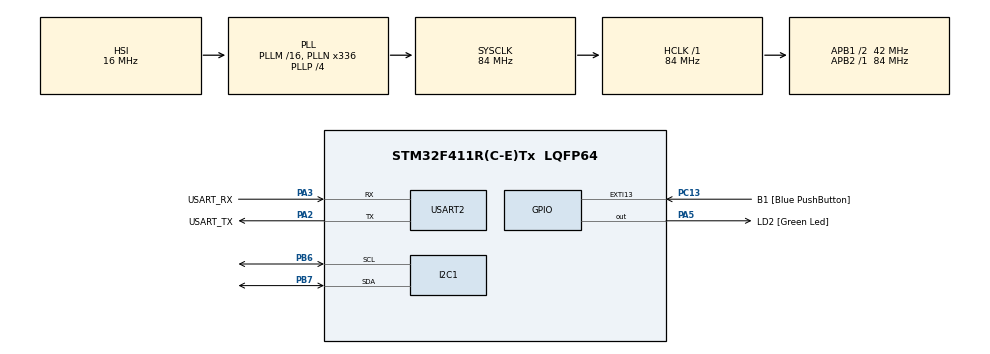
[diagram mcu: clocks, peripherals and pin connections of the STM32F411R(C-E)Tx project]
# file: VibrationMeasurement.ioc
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Mcu.Family=STM32F4
Mcu.Name=STM32F411R(C-E)Tx
Mcu.Package=LQFP64
NVIC.PriorityGroup=NVIC_PRIORITYGROUP_0
PA13.GPIO_Label=TMS
PA13.Mode=Serial_Wire
PA13.Signal=SYS_JTMS-SWDIO
PA14.GPIO_Label=TCK
PA14.Mode=Serial_Wire
PA14.Signal=SYS_JTCK-SWCLK
PA2.GPIO_Label=USART_TX
PA2.Mode=Asynchronous
PA2.Signal=USART2_TX
PA3.GPIO_Label=USART_RX
PA3.Mode=Asynchronous
PA3.Signal=USART2_RX
PA5.GPIO_Label=LD2 [Green Led]
PA5.Signal=GPIO_Output
PB3.GPIO_Label=SWO
PB3.Signal=SYS_JTDO-SWO
PB6.GPIO_Pu=GPIO_NOPULL
PB6.Mode=I2C
PB6.Signal=I2C1_SCL
PB7.GPIO_Pu=GPIO_NOPULL
PB7.Mode=I2C
PB7.Signal=I2C1_SDA
PC13-ANTI_TAMP.GPIO_Label=B1 [Blue PushButton]
PC13-ANTI_TAMP.GPIO_ModeDefaultEXTI=GPIO_MODE_IT_FALLING
PC13-ANTI_TAMP.Signal=GPXTI13
PC14-OSC32_IN.Mode=LSE-External-Oscillator
PC14-OSC32_IN.Signal=RCC_OSC32_IN
PC15-OSC32_OUT.Mode=LSE-External-Oscillator
PC15-OSC32_OUT.Signal=RCC_OSC32_OUT
PH0\ -\ OSC_IN.Mode=HSE-External-Clock-Source
PH0\ -\ OSC_IN.Signal=RCC_OSC_IN
PH1\ -\ OSC_OUT.Mode=HSE-External-Clock-Source
PH1\ -\ OSC_OUT.Signal=RCC_OSC_OUT
ProjectManager.HeapSize=0x200
ProjectManager.StackSize=0x400
ProjectManager.TargetToolchain=STM32CubeIDE
RCC.48MHZClocksFreq_Value=84000000
RCC.AHBFreq_Value=84000000
RCC.APB1CLKDivider=RCC_HCLK_DIV2
RCC.APB1Freq_Value=42000000
RCC.APB1TimFreq_Value=84000000
RCC.APB2Freq_Value=84000000
RCC.APB2TimFreq_Value=84000000
RCC.CortexFreq_Value=84000000
RCC.FLatency-AdvancedSettings=FLASH_LATENCY_2
RCC.HCLKFreq_Value=84000000
RCC.HSE_VALUE=8000000
RCC.HSI_VALUE=16000000
RCC.PLLN=336
RCC.PLLP=RCC_PLLP_DIV4
RCC.SYSCLKFreq_VALUE=84000000
RCC.SYSCLKSource=RCC_SYSCLKSOURCE_PLLCLK
RCC.VCOOutputFreq_Value=336000000
USART2.VirtualMode=VM_ASYNC
board=NUCLEO-F411RE

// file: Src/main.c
/* USER CODE BEGIN Header */
/**
  ******************************************************************************
  * @file           : main.c
  * @brief          : Main program body
  ******************************************************************************
  * @attention
  *
  * Copyright (c) 2025 STMicroelectronics.
  * All rights reserved.
  *
  * This software is licensed under terms that can be found in the LICENSE file
  * in the root directory of this software component.
  * If no LICENSE file comes with this software, it is provided AS-IS.
  *
  ******************************************************************************
  */
/* USER CODE END Header */
#include "main.h"

/* USER CODE BEGIN Includes */
#include <stdio.h>
/* USER CODE END Includes */

I2C_HandleTypeDef hi2c1;

UART_HandleTypeDef huart2;

void SystemClock_Config(void);
static void MX_GPIO_Init(void);
static void MX_USART2_UART_Init(void);
static void MX_I2C1_Init(void);

/* USER CODE BEGIN 0 */
#define MPU6050_ADDR 0xD0

#define SMPLRT_DIV_REG 0x19
#define GYRO_CONFIG_REG 0x1B
#define ACCEL_CONFIG_REG 0x1C
#define ACCEL_XOUT_H_REG 0x3B
#define TEMP_OUT_H_REG 0x41
#define GYRO_XOUT_H_REG 0x43
#define PWR_MGMT_1_REG 0x6B
#define WHO_AM_I_REG 0x75

int16_t Accel_X_RAW = 0;
int16_t Accel_Y_RAW = 0;
int16_t Accel_Z_RAW = 0;

int16_t Gyro_X_RAW = 0;
int16_t Gyro_Y_RAW = 0;
int16_t Gyro_Z_RAW = 0;

float Ax, Ay, Az, Gx, Gy, Gz;

void MPU6050_Init (void)
{
	uint8_t check;
	uint8_t Data;

	// check device ID WHO_AM_I
	HAL_I2C_Mem_Read (&hi2c1, MPU6050_ADDR, 0x75, 1, &check, 1, 1000);
	if (check == 0x68)  // 0x68 will be returned by the sensor if everything goes well
	{
		// power management register 0X6B we should write all 0's to wake the sensor up
		Data = 0;
		HAL_I2C_Mem_Write(&hi2c1, MPU6050_ADDR, 0x6B, 1,&Data, 1, 1000);

		// Set DATA RATE of 1KHz by writing SMPLRT_DIV register
		Data = 0x07;
		HAL_I2C_Mem_Write(&hi2c1, MPU6050_ADDR, 0x19, 1, &Data, 1, 1000);

		// Set Gyroscopic configuration in GYRO_CONFIG Register
		Data = 0x00;  // XG_ST=0,YG_ST=0,ZG_ST=0, FS_SEL=0 -> ± 250 ̐/s
		HAL_I2C_Mem_Write(&hi2c1, MPU6050_ADDR, 0x1B, 1, &Data, 1, 1000);

		// Set accelerometer configuration in ACCEL_CONFIG Register
		Data = 0x00;  // XA_ST=0,YA_ST=0,ZA_ST=0, FS_SEL=0 -> ± 2g
		HAL_I2C_Mem_Write(&hi2c1, MPU6050_ADDR, 0x1C, 1, &Data, 1, 1000);
	}

}

void MPU6050_Read_Accel (void)
{
	uint8_t Rec_Data[6];

	// Read 6 BYTES of data starting from ACCEL_XOUT_H (0x3B) register
	HAL_I2C_Mem_Read (&hi2c1, MPU6050_ADDR, 0x3B, 1, Rec_Data, 6, 1000);

	Accel_X_RAW = (int16_t)(Rec_Data[0] << 8 | Rec_Data [1]);
	Accel_Y_RAW = (int16_t)(Rec_Data[2] << 8 | Rec_Data [3]);
	Accel_Z_RAW = (int16_t)(Rec_Data[4] << 8 | Rec_Data [5]);

	/*** convert the RAW values into acceleration in 'g'
	     we have to divide according to the Full scale value set in FS_SEL
	     I have configured FS_SEL = 0. So I am dividing by 16384.0
	     for more details check ACCEL_CONFIG Register              ****/

	Ax = (float)Accel_X_RAW/16384.0;
	Ay = (float)Accel_Y_RAW/16384.0;
	Az = (float)Accel_Z_RAW/16384.0;
}

void MPU6050_Read_Gyro (void)
{
	uint8_t Rec_Data[6];

	// Read 6 BYTES of data starting from GYRO_XOUT_H register
	HAL_I2C_Mem_Read (&hi2c1, MPU6050_ADDR, 0x43, 1, Rec_Data, 6, 1000);

	Gyro_X_RAW = (int16_t)(Rec_Data[0] << 8 | Rec_Data [1]);
	Gyro_Y_RAW = (int16_t)(Rec_Data[2] << 8 | Rec_Data [3]);
	Gyro_Z_RAW = (int16_t)(Rec_Data[4] << 8 | Rec_Data [5]);

	/*** convert the RAW values into dps (ｰ/s)
	     we have to divide according to the Full scale value set in FS_SEL
	     I have configured FS_SEL = 0. So I am dividing by 131.0
	     for more details check GYRO_CONFIG Register              ****/

	Gx = (float)Gyro_X_RAW/131.0;
	Gy = (float)Gyro_Y_RAW/131.0;
	Gz = (float)Gyro_Z_RAW/131.0;
}

/* USER CODE END 0 */

int main(void)
{

  /* MCU Configuration--------------------------------------------------------*/

  /* Reset of all peripherals, Initializes the Flash interface and the Systick. */
  HAL_Init();

  /* Configure the system clock */
  SystemClock_Config();

  /* Initialize all configured peripherals */
  MX_GPIO_Init();
  MX_USART2_UART_Init();
  MX_I2C1_Init();
  /* USER CODE BEGIN 2 */
  MPU6050_Init();

  /* USER CODE END 2 */

  /* Infinite loop */
  while (1)
  {

    /* USER CODE BEGIN 3 */
	  uint8_t packet[16]; // Binary packet buffer
	    uint8_t checksum = 0;

	    // Read the Accelerometer and Gyro values
	    MPU6050_Read_Accel();
	    MPU6050_Read_Gyro();

	    // Convert float values to int16_t with proper scaling
	    int16_t accelX = (int16_t)(Ax * 16384.0f); // Scale back to raw values
	    int16_t accelY = (int16_t)(Ay * 16384.0f);
	    int16_t accelZ = (int16_t)(Az * 16384.0f);
	    int16_t gyroX = (int16_t)(Gx * 131.0f);
	    int16_t gyroY = (int16_t)(Gy * 131.0f);
	    int16_t gyroZ = (int16_t)(Gz * 131.0f);

	    // Build packet
	    packet[0] = 0xAA; // PACKET_HEADER_1
	    packet[1] = 0x55; // PACKET_HEADER_2

	    // Accelerometer data
	    packet[2] = (uint8_t)(accelX >> 8);
	    packet[3] = (uint8_t)(accelX & 0xFF);
	    packet[4] = (uint8_t)(accelY >> 8);
	    packet[5] = (uint8_t)(accelY & 0xFF);
	    packet[6] = (uint8_t)(accelZ >> 8);
	    packet[7] = (uint8_t)(accelZ & 0xFF);

	    // Gyroscope data
	    packet[8] = (uint8_t)(gyroX >> 8);
	    packet[9] = (uint8_t)(gyroX & 0xFF);
	    packet[10] = (uint8_t)(gyroY >> 8);
	    packet[11] = (uint8_t)(gyroY & 0xFF);
	    packet[12] = (uint8_t)(gyroZ >> 8);
	    packet[13] = (uint8_t)(gyroZ & 0xFF);

	    // Calculate checksum (XOR of all bytes)
	    for (int i = 0; i < 14; i++) {
	      checksum ^= packet[i];
	    }
	    packet[14] = checksum;

	    // Send the packet
	    HAL_UART_Transmit(&huart2, packet, 15, HAL_MAX_DELAY);

	    HAL_Delay(100);  // 10Hz update rate to match Qt app
  }
  /* USER CODE END 3 */
}

void SystemClock_Config(void)
{
  RCC_OscInitTypeDef RCC_OscInitStruct = {0};
  RCC_ClkInitTypeDef RCC_ClkInitStruct = {0};

  /** Configure the main internal regulator output voltage
  */
  __HAL_RCC_PWR_CLK_ENABLE();
  __HAL_PWR_VOLTAGESCALING_CONFIG(PWR_REGULATOR_VOLTAGE_SCALE1);

  /** Initializes the RCC Oscillators according to the specified parameters
  * in the RCC_OscInitTypeDef structure.
  */
  RCC_OscInitStruct.OscillatorType = RCC_OSCILLATORTYPE_HSI;
  RCC_OscInitStruct.HSIState = RCC_HSI_ON;
  RCC_OscInitStruct.HSICalibrationValue = RCC_HSICALIBRATION_DEFAULT;
  RCC_OscInitStruct.PLL.PLLState = RCC_PLL_ON;
  RCC_OscInitStruct.PLL.PLLSource = RCC_PLLSOURCE_HSI;
  RCC_OscInitStruct.PLL.PLLM = 16;
  RCC_OscInitStruct.PLL.PLLN = 336;
  RCC_OscInitStruct.PLL.PLLP = RCC_PLLP_DIV4;
  RCC_OscInitStruct.PLL.PLLQ = 4;
  if (HAL_RCC_OscConfig(&RCC_OscInitStruct) != HAL_OK)
  {
    Error_Handler();
  }

  /** Initializes the CPU, AHB and APB buses clocks
  */
  RCC_ClkInitStruct.ClockType = RCC_CLOCKTYPE_HCLK|RCC_CLOCKTYPE_SYSCLK
                              |RCC_CLOCKTYPE_PCLK1|RCC_CLOCKTYPE_PCLK2;
  RCC_ClkInitStruct.SYSCLKSource = RCC_SYSCLKSOURCE_PLLCLK;
  RCC_ClkInitStruct.AHBCLKDivider = RCC_SYSCLK_DIV1;
  RCC_ClkInitStruct.APB1CLKDivider = RCC_HCLK_DIV2;
  RCC_ClkInitStruct.APB2CLKDivider = RCC_HCLK_DIV1;

  if (HAL_RCC_ClockConfig(&RCC_ClkInitStruct, FLASH_LATENCY_2) != HAL_OK)
  {
    Error_Handler();
  }
}

static void MX_I2C1_Init(void)
{

  hi2c1.Instance = I2C1;
  hi2c1.Init.ClockSpeed = 100000;
  hi2c1.Init.DutyCycle = I2C_DUTYCYCLE_2;
  hi2c1.Init.OwnAddress1 = 0;
  hi2c1.Init.AddressingMode = I2C_ADDRESSINGMODE_7BIT;
  hi2c1.Init.DualAddressMode = I2C_DUALADDRESS_DISABLE;
  hi2c1.Init.OwnAddress2 = 0;
  hi2c1.Init.GeneralCallMode = I2C_GENERALCALL_DISABLE;
  hi2c1.Init.NoStretchMode = I2C_NOSTRETCH_DISABLE;
  if (HAL_I2C_Init(&hi2c1) != HAL_OK)
  {
    Error_Handler();
  }

}

static void MX_USART2_UART_Init(void)
{

  huart2.Instance = USART2;
  huart2.Init.BaudRate = 115200;
  huart2.Init.WordLength = UART_WORDLENGTH_8B;
  huart2.Init.StopBits = UART_STOPBITS_1;
  huart2.Init.Parity = UART_PARITY_NONE;
  huart2.Init.Mode = UART_MODE_TX_RX;
  huart2.Init.HwFlowCtl = UART_HWCONTROL_NONE;
  huart2.Init.OverSampling = UART_OVERSAMPLING_16;
  if (HAL_UART_Init(&huart2) != HAL_OK)
  {
    Error_Handler();
  }

}

static void MX_GPIO_Init(void)
{
  GPIO_InitTypeDef GPIO_InitStruct = {0};

  /* GPIO Ports Clock Enable */
  __HAL_RCC_GPIOC_CLK_ENABLE();
  __HAL_RCC_GPIOH_CLK_ENABLE();
  __HAL_RCC_GPIOA_CLK_ENABLE();
  __HAL_RCC_GPIOB_CLK_ENABLE();

  /*Configure GPIO pin Output Level */
  HAL_GPIO_WritePin(LD2_GPIO_Port, LD2_Pin, GPIO_PIN_RESET);

  /*Configure GPIO pin : B1_Pin */
  GPIO_InitStruct.Pin = B1_Pin;
  GPIO_InitStruct.Mode = GPIO_MODE_IT_FALLING;
  GPIO_InitStruct.Pull = GPIO_NOPULL;
  HAL_GPIO_Init(B1_GPIO_Port, &GPIO_InitStruct);

  /*Configure GPIO pin : LD2_Pin */
  GPIO_InitStruct.Pin = LD2_Pin;
  GPIO_InitStruct.Mode = GPIO_MODE_OUTPUT_PP;
  GPIO_InitStruct.Pull = GPIO_NOPULL;
  GPIO_InitStruct.Speed = GPIO_SPEED_FREQ_LOW;
  HAL_GPIO_Init(LD2_GPIO_Port, &GPIO_InitStruct);

}

void Error_Handler(void)
{
  __disable_irq();
  while (1)
  {
  }
}
